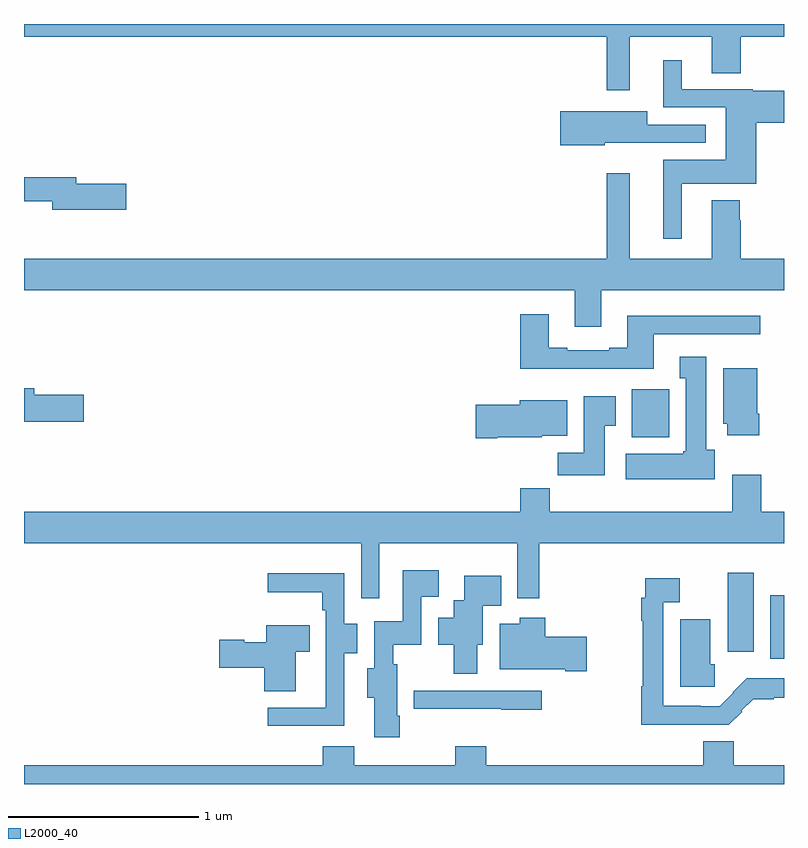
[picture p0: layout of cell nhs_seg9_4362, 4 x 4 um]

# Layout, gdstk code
import gdstk
lib = gdstk.Library(unit=1e-6, precision=1e-09)
def R(c, l, rs):  # rectangles x0, y0, x1, y1
    for r in rs: c.add(gdstk.rectangle(r[:2], r[2:], *l))
def P(c, l, *ps):  # polygons
    for p in ps: c.add(gdstk.Polygon(p, *l))
L2000_40 = (2000, 40)

nhs_seg9_4362 = lib.new_cell('nhs_seg9_4362')
R(nhs_seg9_4362, L2000_40, [(364.928,1181.16,365,1181.494), (364.703,1181.196,364.84,1181.611), (364.199,1182.326,364.395,1182.577)])
P(nhs_seg9_4362, L2000_40, [(361,1184.432),(364.068,1184.432),(364.068,1184.151),(364.189,1184.151),(364.189,1184.432),(364.619,1184.432),(364.619,1184.242),(364.772,1184.242),(364.772,1184.432),(365,1184.432),(365,1184.5),(361,1184.5)],
  [(364.462,1183.658),(364.853,1183.658),(364.853,1183.979),(365,1183.979),(365,1184.149),(364.836,1184.149),(364.836,1184.157),(364.462,1184.157),(364.462,1184.308),(364.364,1184.308),(364.364,1184.061),(364.694,1184.061),(364.694,1183.786),(364.364,1183.786),(364.364,1183.371),(364.462,1183.371)],
  [(364.056,1183.874),(364.275,1183.874),(364.275,1183.875),(364.588,1183.875),(364.588,1183.971),(364.279,1183.971),(364.279,1184.04),(363.822,1184.04),(363.822,1183.862),(364.056,1183.862)],
  [(364.039,1183.1),(365,1183.1),(365,1183.264),(364.772,1183.264),(364.772,1183.466),(364.767,1183.466),(364.767,1183.573),(364.619,1183.573),(364.619,1183.264),(364.189,1183.264),(364.189,1183.714),(364.068,1183.714),(364.068,1183.264),(361,1183.264),(361,1183.1),(363.899,1183.1),(363.899,1182.906),(364.039,1182.906)],
  [(361.537,1183.658),(361.276,1183.658),(361.276,1183.694),(361,1183.694),(361,1183.566),(361.148,1183.566),(361.148,1183.523),(361.537,1183.523)],
  [(364.315,1182.867),(364.876,1182.867),(364.876,1182.964),(364.175,1182.964),(364.175,1182.796),(364.079,1182.796),(364.079,1182.783),(363.859,1182.783),(363.859,1182.796),(363.763,1182.796),(363.763,1182.973),(363.611,1182.973),(363.611,1182.686),(364.315,1182.686)],
  [(364.636,1182.258),(364.591,1182.258),(364.591,1182.748),(364.451,1182.748),(364.451,1182.635),(364.484,1182.635),(364.484,1182.252),(364.471,1182.252),(364.471,1182.238),(364.167,1182.238),(364.167,1182.104),(364.636,1182.104)],
  [(364.871,1182.448),(364.858,1182.448),(364.858,1182.688),(364.679,1182.688),(364.679,1182.396),(364.7,1182.396),(364.7,1182.336),(364.871,1182.336)],
  [(361.315,1182.548),(361.054,1182.548),(361.054,1182.584),(361,1182.584),(361,1182.406),(361.315,1182.406)],
  [(364.057,1182.385),(364.114,1182.385),(364.114,1182.541),(363.947,1182.541),(363.947,1182.244),(363.808,1182.244),(363.808,1182.126),(364.057,1182.126)],
  [(363.49,1182.326),(363.726,1182.326),(363.726,1182.332),(363.859,1182.332),(363.859,1182.52),(363.608,1182.52),(363.608,1182.497),(363.378,1182.497),(363.378,1182.319),(363.49,1182.319)],
  [(365,1181.932),(364.88,1181.932),(364.88,1182.127),(364.727,1182.127),(364.727,1181.932),(363.767,1181.932),(363.767,1182.056),(363.611,1182.056),(363.611,1181.932),(361,1181.932),(361,1181.768),(362.775,1181.768),(362.775,1181.478),(362.871,1181.478),(362.871,1181.768),(363.597,1181.768),(363.597,1181.478),(363.713,1181.478),(363.713,1181.768),(365,1181.768)],
  [(362.977,1180.858),(362.965,1180.858),(362.965,1181.13),(362.943,1181.13),(362.943,1181.234),(363.09,1181.234),(363.09,1181.486),(363.184,1181.486),(363.184,1181.626),(362.994,1181.626),(362.994,1181.356),(362.844,1181.356),(362.844,1181.109),(362.807,1181.109),(362.807,1180.954),(362.843,1180.954),(362.843,1180.746),(362.977,1180.746)],
  [(362.685,1181.188),(362.755,1181.188),(362.755,1181.343),(362.685,1181.343),(362.685,1181.608),(362.283,1181.608),(362.283,1181.51),(362.569,1181.51),(362.569,1181.414),(362.589,1181.414),(362.589,1181.099),(362.588,1181.099),(362.588,1180.902),(362.283,1180.902),(362.283,1180.806),(362.685,1180.806)],
  [(363.385,1181.234),(363.415,1181.234),(363.415,1181.438),(363.512,1181.438),(363.512,1181.596),(363.318,1181.596),(363.318,1181.467),(363.263,1181.467),(363.263,1181.374),(363.179,1181.374),(363.179,1181.234),(363.263,1181.234),(363.263,1181.079),(363.385,1181.079)],
  [(364.779,1180.881),(364.775,1180.885),(364.837,1180.947),(364.945,1180.947),(364.945,1180.955),(365,1180.955),(365,1181.057),(364.805,1181.057),(364.731,1180.983),(364.734,1180.98),(364.662,1180.908),(364.562,1180.908),(364.562,1180.912),(364.365,1180.912),(364.365,1181.456),(364.45,1181.456),(364.45,1181.584),(364.269,1181.584),(364.269,1181.48),(364.249,1181.48),(364.249,1181.36),(364.257,1181.36),(364.257,1181.015),(364.249,1181.015),(364.249,1180.811),(364.709,1180.811)],
  [(363.961,1181.276),(363.743,1181.276),(363.743,1181.374),(363.608,1181.374),(363.608,1181.344),(363.503,1181.344),(363.503,1181.105),(363.848,1181.105),(363.848,1181.093),(363.961,1181.093)],
  [(364.635,1181.13),(364.612,1181.13),(364.612,1181.368),(364.454,1181.368),(364.454,1181.013),(364.635,1181.013)],
  [(362.431,1181.195),(362.504,1181.195),(362.504,1181.335),(362.276,1181.335),(362.276,1181.245),(362.16,1181.245),(362.16,1181.258),(362.028,1181.258),(362.028,1181.111),(362.264,1181.111),(362.264,1180.987),(362.431,1180.987)],
  [(363.724,1180.992),(363.051,1180.992),(363.051,1180.895),(363.511,1180.895),(363.511,1180.891),(363.724,1180.891)],
  [(365,1180.6),(364.735,1180.6),(364.735,1180.726),(364.574,1180.726),(364.574,1180.6),(363.434,1180.6),(363.434,1180.699),(363.269,1180.699),(363.269,1180.6),(362.738,1180.6),(362.738,1180.699),(362.573,1180.699),(362.573,1180.6),(361,1180.6),(361,1180.5),(365,1180.5)])

lib.write_gds('nhs_seg9_4362.gds')
